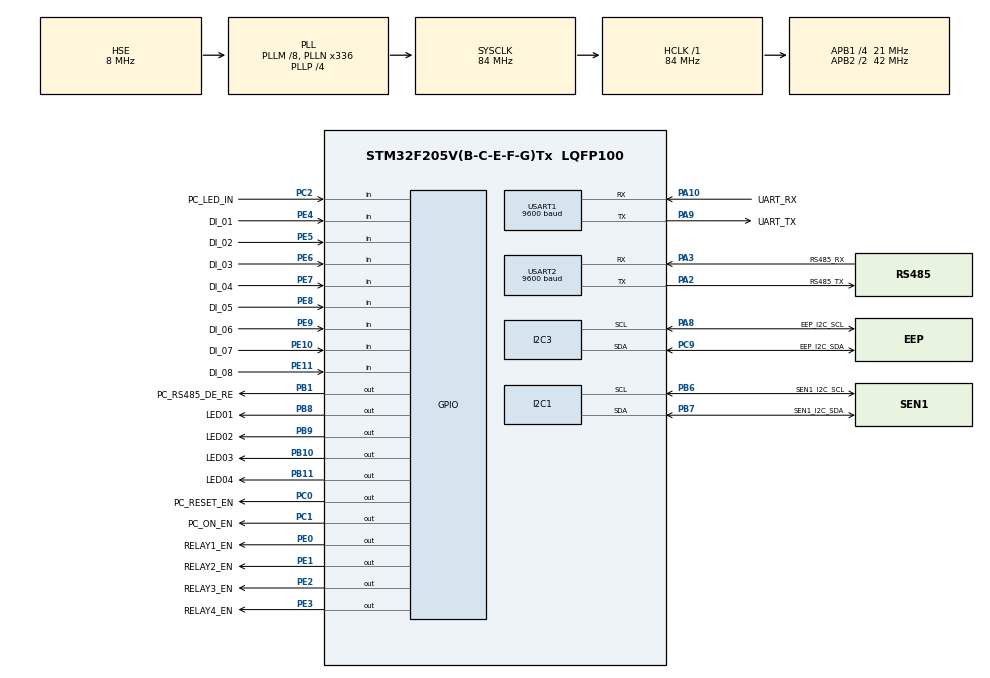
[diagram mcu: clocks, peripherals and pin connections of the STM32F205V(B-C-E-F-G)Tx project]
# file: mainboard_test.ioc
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Mcu.Family=STM32F2
Mcu.Name=STM32F205V(B-C-E-F-G)Tx
Mcu.Package=LQFP100
NVIC.PriorityGroup=NVIC_PRIORITYGROUP_4
NVIC.RCC_IRQn=true\:0\:0\:false\:false\:true\:true\:false\:true
NVIC.USART1_IRQn=true\:5\:0\:true\:false\:true\:true\:true\:true
NVIC.USART2_IRQn=true\:6\:0\:true\:false\:true\:true\:true\:true
PA10.GPIO_Label=UART_RX
PA10.Mode=Asynchronous
PA10.Signal=USART1_RX
PA13.Mode=Serial_Wire
PA13.Signal=SYS_JTMS-SWDIO
PA14.Mode=Serial_Wire
PA14.Signal=SYS_JTCK-SWCLK
PA2.GPIO_Label=RS485_TX
PA2.Mode=Asynchronous
PA2.Signal=USART2_TX
PA3.GPIO_Label=RS485_RX
PA3.Mode=Asynchronous
PA3.Signal=USART2_RX
PA8.GPIO_Label=EEP_I2C_SCL
PA8.Mode=I2C
PA8.Signal=I2C3_SCL
PA9.GPIO_Label=UART_TX
PA9.Mode=Asynchronous
PA9.Signal=USART1_TX
PB1.GPIO_Label=PC_RS485_DE_RE
PB1.GPIO_Speed=GPIO_SPEED_FREQ_VERY_HIGH
PB1.Signal=GPIO_Output
PB10.GPIO_Label=LED03
PB10.Signal=GPIO_Output
PB11.GPIO_Label=LED04
PB11.Signal=GPIO_Output
PB6.GPIO_Label=SEN1_I2C_SCL
PB6.Mode=I2C
PB6.Signal=I2C1_SCL
PB7.GPIO_Label=SEN1_I2C_SDA
PB7.Mode=I2C
PB7.Signal=I2C1_SDA
PB8.GPIO_Label=LED01
PB8.Signal=GPIO_Output
PB9.GPIO_Label=LED02
PB9.Signal=GPIO_Output
PC0.GPIO_Label=PC_RESET_EN
PC0.Signal=GPIO_Output
PC1.GPIO_Label=PC_ON_EN
PC1.Signal=GPIO_Output
PC14-OSC32_IN.Mode=LSE-External-Oscillator
PC14-OSC32_IN.Signal=RCC_OSC32_IN
PC15-OSC32_OUT.Mode=LSE-External-Oscillator
PC15-OSC32_OUT.Signal=RCC_OSC32_OUT
PC2.GPIO_Label=PC_LED_IN
PC2.Signal=GPIO_Input
PC9.GPIO_Label=EEP_I2C_SDA
PC9.Mode=I2C
PC9.Signal=I2C3_SDA
PE0.GPIO_Label=RELAY1_EN
PE0.Signal=GPIO_Output
PE1.GPIO_Label=RELAY2_EN
PE1.Signal=GPIO_Output
PE10.GPIO_Label=DI_07
PE10.Signal=GPIO_Input
PE11.GPIO_Label=DI_08
PE11.Signal=GPIO_Input
PE2.GPIO_Label=RELAY3_EN
PE2.Signal=GPIO_Output
PE3.GPIO_Label=RELAY4_EN
PE3.Signal=GPIO_Output
PE4.GPIO_Label=DI_01
PE4.Signal=GPIO_Input
PE5.GPIO_Label=DI_02
PE5.Signal=GPIO_Input
PE6.GPIO_Label=DI_03
PE6.Signal=GPIO_Input
PE7.GPIO_Label=DI_04
PE7.Signal=GPIO_Input
PE8.GPIO_Label=DI_05
PE8.Signal=GPIO_Input
PE9.GPIO_Label=DI_06
PE9.Signal=GPIO_Input
PH0-OSC_IN.Mode=HSE-External-Oscillator
PH0-OSC_IN.Signal=RCC_OSC_IN
PH1-OSC_OUT.Mode=HSE-External-Oscillator
PH1-OSC_OUT.Signal=RCC_OSC_OUT
ProjectManager.HeapSize=0x200
ProjectManager.StackSize=0x400
ProjectManager.TargetToolchain=STM32CubeIDE
RCC.48MHZClocksFreq_Value=84000000
RCC.AHBFreq_Value=84000000
RCC.APB1CLKDivider=RCC_HCLK_DIV4
RCC.APB1Freq_Value=21000000
RCC.APB1TimFreq_Value=42000000
RCC.APB2CLKDivider=RCC_HCLK_DIV2
RCC.APB2Freq_Value=42000000
RCC.APB2TimFreq_Value=84000000
RCC.CortexFreq_Value=84000000
RCC.HCLKFreq_Value=84000000
RCC.HSE_VALUE=8000000
RCC.HSI_VALUE=16000000
RCC.PLLM=8
RCC.PLLN=336
RCC.PLLP=RCC_PLLP_DIV4
RCC.PLLSourceVirtual=RCC_PLLSOURCE_HSE
RCC.RCC_RTC_Clock_Source=RCC_RTCCLKSOURCE_LSE
RCC.RCC_RTC_Clock_SourceVirtual=RCC_RTCCLKSOURCE_LSE
RCC.SYSCLKFreq_VALUE=84000000
RCC.SYSCLKSource=RCC_SYSCLKSOURCE_PLLCLK
RCC.VCOOutputFreq_Value=336000000
USART1.BaudRate=9600
USART1.VirtualMode=VM_ASYNC
USART2.BaudRate=9600
USART2.VirtualMode=VM_ASYNC
VP_RTC_VS_RTC_Activate.Mode=RTC_Enabled
VP_WWDG_VS_WWDG.Mode=WWDG_Activate
WWDG.Counter=127
WWDG.Prescaler=WWDG_PRESCALER_8
WWDG.Window=120
board=custom

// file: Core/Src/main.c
/* USER CODE BEGIN Header */
/**
  ******************************************************************************
  * @file           : main.c
  * @brief          : Main program body
  ******************************************************************************
  * @attention
  *
  * Copyright (c) 2026 STMicroelectronics.
  * All rights reserved.
  *
  * This software is licensed under terms that can be found in the LICENSE file
  * in the root directory of this software component.
  * If no LICENSE file comes with this software, it is provided AS-IS.
  *
  ******************************************************************************
  */
/* USER CODE END Header */
#include "main.h"

/* USER CODE BEGIN Includes */
#include "app_config.h"
#include "mainboard_test_profile.h"
#include "app_scheduler.h"
#include "aggregator.h"
#include "aggregated_status.h"
#include "upstream_pc_protocol.h"
#include "upstream_slave_uart1.h"
#include "modbus_master.h"
#include "gateway_actions.h"
#include "led_status.h"
#include "pc_test_aa_stream.h"
#include "reset_reason.h"
#include "wwdg_service.h"
#include "system_config.h"
#include "system_sync.h"
#include "board_rtc.h"
#include "main_auto_link.h"
#include "output_state_nvm.h"
#include "eeprom_24c02.h"
#include <stdio.h>
#include <string.h>
/* USER CODE END Includes */

/* USER CODE BEGIN PD */

/* EEPROM 단순 read/write 테스트 주소.
 * 레이아웃: 0x00~0x3F SystemConfig, 0x40~0x7F output_state_nvm A/B → 0xA0 이후 안전 */
#define EEPROM_BOOT_TEST_ADDR  0xA0u
#define EEPROM_BOOT_TEST_VAL   100u   /* 0x64 */

/* USER CODE END PD */

I2C_HandleTypeDef hi2c1;
I2C_HandleTypeDef hi2c3;

RTC_HandleTypeDef hrtc;

UART_HandleTypeDef huart1;
UART_HandleTypeDef huart2;

WWDG_HandleTypeDef hwwdg;

/* USER CODE BEGIN PV */
static aggregated_status_t aggregated_status;
/* USER CODE END PV */

void SystemClock_Config(void);
static void MX_GPIO_Init(void);
#if !MAINBOARD_TEST_PROFILE
static void MX_WWDG_Init(void);
#endif
static void MX_I2C1_Init(void);
static void MX_I2C3_Init(void);
static void MX_USART1_UART_Init(void);
static void MX_USART2_UART_Init(void);
static void MX_RTC_Init(void);

/* USER CODE BEGIN 0 */
/**
 * @brief EEPROM 단순 read/write 부팅 테스트.
 *        주소 0xA0에 100(0x64)을 쓰고 즉시 읽어 일치 여부를 UART1로 출력.
 *        output_state_nvm/SystemConfig 영역(0x00~0x7F)과 겹치지 않음.
 *        mainboard_test: MAINBOARD_TEST_PROFILE 에서 UART1 배너 직후 1회 호출.
 */
static void MainboardTest_EepromWriteReadLog(void)
{
    extern UART_HandleTypeDef huart1;

    uint8_t w = EEPROM_BOOT_TEST_VAL;
    uint8_t r = 0u;
    int wr = EEPROM_Write(EEPROM_BOOT_TEST_ADDR, &w, 1u);
    int rd = EEPROM_Read (EEPROM_BOOT_TEST_ADDR, &r, 1u);

    char buf[96];
    int n;

    n = snprintf(buf, sizeof(buf),
                 "[EEPROM-TEST] WR ret=%d val=%u\r\n", wr, (unsigned)w);
    if (n > 0) (void)HAL_UART_Transmit(&huart1, (uint8_t *)buf, (uint16_t)n, 100);

    n = snprintf(buf, sizeof(buf),
                 "[EEPROM-TEST] RD ret=%d val=%u\r\n", rd, (unsigned)r);
    if (n > 0) (void)HAL_UART_Transmit(&huart1, (uint8_t *)buf, (uint16_t)n, 100);

    int pass = (wr == 0) && (rd == 0) && (r == EEPROM_BOOT_TEST_VAL);
    n = snprintf(buf, sizeof(buf),
                 "[EEPROM-TEST] addr=0x%02X %s\r\n",
                 (unsigned)EEPROM_BOOT_TEST_ADDR, pass ? "PASS" : "FAIL");
    if (n > 0) (void)HAL_UART_Transmit(&huart1, (uint8_t *)buf, (uint16_t)n, 100);
}

static void MainboardTest_RtcLogAndCheck(void)
{
    extern UART_HandleTypeDef huart1;

    uint16_t a[7] = {0};
    uint16_t b[7] = {0};
    int ra = BoardRtc_ReadWordRegs(a);

    char buf[128];
    int n;

    if (ra != 0) {
        n = snprintf(buf, sizeof(buf), "[RTC-TEST] READ fail ret=%d\r\n", ra);
        if (n > 0) (void)HAL_UART_Transmit(&huart1, (uint8_t *)buf, (uint16_t)n, 100);
        return;
    }

    n = snprintf(buf, sizeof(buf),
                 "[RTC-TEST] A %04u-%02u-%02u wd=%u %02u:%02u:%02u\r\n",
                 (unsigned)a[0], (unsigned)a[1], (unsigned)a[2], (unsigned)a[3],
                 (unsigned)a[4], (unsigned)a[5], (unsigned)a[6]);
    if (n > 0) (void)HAL_UART_Transmit(&huart1, (uint8_t *)buf, (uint16_t)n, 100);

    HAL_Delay(1100);
    int rb = BoardRtc_ReadWordRegs(b);
    if (rb != 0) {
        n = snprintf(buf, sizeof(buf), "[RTC-TEST] READ2 fail ret=%d\r\n", rb);
        if (n > 0) (void)HAL_UART_Transmit(&huart1, (uint8_t *)buf, (uint16_t)n, 100);
        return;
    }

    n = snprintf(buf, sizeof(buf),
                 "[RTC-TEST] B %04u-%02u-%02u wd=%u %02u:%02u:%02u\r\n",
                 (unsigned)b[0], (unsigned)b[1], (unsigned)b[2], (unsigned)b[3],
                 (unsigned)b[4], (unsigned)b[5], (unsigned)b[6]);
    if (n > 0) (void)HAL_UART_Transmit(&huart1, (uint8_t *)buf, (uint16_t)n, 100);

    /* "시계가 실제로 간다"만 확인: 날짜가 동일하면 초 증가를 검사, 날짜가 바뀌면 PASS. */
    int pass = 0;
    if (a[0] == b[0] && a[1] == b[1] && a[2] == b[2]) {
        /* 1.1초 대기이므로 정상이라면 +1 또는 +2가 흔함 (tick/읽기 지연 고려). */
        uint16_t da = a[4] * 3600u + a[5] * 60u + a[6];
        uint16_t db = b[4] * 3600u + b[5] * 60u + b[6];
        uint16_t diff = (db >= da) ? (uint16_t)(db - da) : 0u;
        pass = (diff >= 1u && diff <= 3u);
    } else {
        pass = 1;
    }
    n = snprintf(buf, sizeof(buf), "[RTC-TEST] %s\r\n", pass ? "PASS" : "FAIL");
    if (n > 0) (void)HAL_UART_Transmit(&huart1, (uint8_t *)buf, (uint16_t)n, 100);
}
/* USER CODE END 0 */

int main(void)
{

  /* MCU Configuration--------------------------------------------------------*/

  /* Reset of all peripherals, Initializes the Flash interface and the Systick. */
  HAL_Init();

  /* USER CODE BEGIN Init */
  ResetReason_CaptureAndClear();

  /* USER CODE END Init */

  /* Configure the system clock */
  SystemClock_Config();

  /* Initialize all configured peripherals */
  MX_GPIO_Init();
#if !MAINBOARD_TEST_PROFILE
  /* WWDG는 카운터 시작 후 ~49ms 안에 리프레시해야 함. 긴 초기화 전에 켜면 리셋 루프(부팅 로그 반복) 발생. */
  MX_WWDG_Init();
#endif
  MX_I2C1_Init();
  MX_I2C3_Init();
  MX_USART1_UART_Init();
  MX_USART2_UART_Init();
  MX_RTC_Init();
  /* USER CODE BEGIN 2 */
  BoardRtc_Init();
  /* EEPROM 설정 로드: 실패 또는 검증 실패 시 기본값 저장 후 적용 */
  {
    system_config_t cfg;
    if (SystemConfig_Load(&cfg) != 0 || SystemConfig_Validate(&cfg) != 0) {
      SystemConfig_SetDefaults(&cfg);
      SystemConfig_Save(&cfg);
    }
    /* 출력 상태 로드(HPSB/LPSB 복원용). Mainboard RELAY1~4는 EEPROM으로 GPIO 복원하지 않음(항상 0 시작). */
    {
      output_state_nvm_t out_state;
      (void)OutputStateNvm_Load(&out_state);
    }
#if USE_PC_TEST_UART1_SLAVE
    /* PC 테스트 툴은 9600 고정. EEPROM baud와 무관하게 UART1=9600으로 통신 보장. */
    huart1.Init.BaudRate = 9600;
#elif MAINBOARD_TEST_PROFILE
    /* mainboard_test: UART1 TTL 디버그 9600bps 고정 */
    huart1.Init.BaudRate = 9600;
#else
    huart1.Init.BaudRate = (uint32_t)cfg.baudrate;
#endif
    (void)HAL_UART_Init(&huart1);
#if SYSTEM_CONFIG_BOOT_LOG
    SystemConfig_LogToUart((void *)&huart1);
#endif
#if MAINBOARD_TEST_PROFILE
    /* 부팅 1회: EEPROM R/W 검증 (UART1). 주기 송신은 루프에서 0xAA 한 줄/초. */
    MainboardTest_EepromWriteReadLog();
    MainboardTest_RtcLogAndCheck();
#endif
  }
  /* 정상 동작 모드: 스케줄러/통신/집계/LED 상태 및 WWDG 서비스 초기화. */
#if !MAINBOARD_TEST_PROFILE
  WwdgService_Init(&hwwdg);
#endif
  AppScheduler_Init();
  ModbusMaster_Init();
  /* 부팅 즉시 모든 하위보드 1회 poll 요청: PC 미연결 상태에서도 comm_ok 확정 후 NVM 복원이 동작하도록 함.
   * poll 성공 → comm_ok=1 → OutputStateNvm_RestoreSubBoardsIfNeeded가 복원 실행. */
  ModbusMaster_RequestOnDemandPoll((uint16_t)SLAVE_ID_HPSB  | (uint16_t)SLAVE_ID_LPSB1 |
                                   (uint16_t)SLAVE_ID_LPSB2 | (uint16_t)SLAVE_ID_LPSB3);
  AggregatedStatus_Clear(&aggregated_status);
  SystemSync_Init();
#if !MB_UART2_ASCII_BRIDGE_TEST
#if !USE_PC_TEST_UART1_SLAVE
  /* NOTE: UpstreamPC uses USART2 ReceiveToIdle_IT.
   * When PC_TEST_UART1_SLAVE is enabled, USART2 is reserved for downstream Modbus Master (sub RS485).
   * Running both on USART2 causes RX competition and truncated FC04 responses. */
  UpstreamPC_Init();
#endif
#endif
#if USE_PC_TEST_UART1_SLAVE && !ENABLE_PC_TEST_AA_STREAM
  UpstreamSlaveUart1_Init();
#endif
  MainAutoLink_Init();
  LED_Status_Init();
#if ENABLE_PC_TEST_AA_STREAM
  PcTestAA_Init();
#endif
#if USE_PC_TEST_UART1_SLAVE && !ENABLE_PC_TEST_AA_STREAM
  /* 부팅 시 LED2 한 번 펄스 ... */
  LED_Status_OnUart1RxEvent();
  LED_Status_OnUart1SlaveTx();
#endif
  /* mainboard_test(MAINBOARD_TEST_PROFILE): WWDG 미사용 — 리셋 루프 방지. 그 외 빌드는 앞단 MX_WWDG_Init 사용. */
  /* USER CODE END 2 */

  /* Infinite loop */
  while (1)
  {

    /* USER CODE BEGIN 3 */
#if MAINBOARD_TEST_PROFILE
    /* 1초마다 한 줄: 터미널에서 읽기 쉬운 0xAA 표시 */
    {
      static uint32_t s_uart1_aa_ms;
      uint32_t now = HAL_GetTick();
      if ((uint32_t)(now - s_uart1_aa_ms) >= 1000u) {
        s_uart1_aa_ms = now;
        static const char k_line[] = "0xAA\r\n";
        (void)HAL_UART_Transmit(&huart1, (uint8_t *)k_line, (uint16_t)(sizeof(k_line) - 1u), 50);
      }
    }
#endif
#if UART2_RS485_SUB_TXRX_TEST_ENABLE && !MAINBOARD_TEST_PROFILE
    /* USART2(RS485 하단) TX 생존 테스트: 1초마다 송신 */
    {
      static uint32_t s_rs485_tx_tick = 0;
      uint32_t now = HAL_GetTick();
      if (s_rs485_tx_tick == 0u) s_rs485_tx_tick = now;
      if ((now - s_rs485_tx_tick) >= 1000u) {
        s_rs485_tx_tick = now;
        rs485_test_tx();
      }
    }
#endif

#if MB_UART1_TX_OK_STREAM_TEST
    /* USART1(상위 RS485, PC 링크) 테스트: 1초마다 "MB_OK\r\n" 송신 */
    {
      uint32_t now = HAL_GetTick();
      if (s_mb_ok_last_tick == 0u) s_mb_ok_last_tick = now;
      if ((now - s_mb_ok_last_tick) >= 1000u) {
        s_mb_ok_last_tick = now;
        mb_uart1_send_mb_ok();
      }
    }
#endif

    /* 1ms 주기 기반 스케줄러/업무 처리 */
    LED_Status_Tick_1ms();
    MainAutoLink_Tick();
    AppScheduler_Update();

#if ENABLE_PC_TEST_AA_STREAM
    PcTestAA_Tick(&aggregated_status);
#else
#if MB_UART2_ASCII_BRIDGE_TEST
    ascii_bridge_tick();
#else
#if !USE_PC_TEST_UART1_SLAVE
    if (AppScheduler_IsDue(TASK_UPSTREAM_POLL))
      UpstreamPC_Poll(&aggregated_status);
#endif
#if USE_PC_TEST_UART1_SLAVE || MODBUS_MASTER_POLL_ENABLE
    if (AppScheduler_IsDue(TASK_DOWNSTREAM_MODBUS)) {
#if USE_PC_TEST_UART1_SLAVE
      UpstreamSlaveUart1_Poll(&aggregated_status);
#endif
#if MODBUS_MASTER_POLL_ENABLE
      ModbusMaster_Poll();
#endif
    }
#endif
#endif
#endif
    if (AppScheduler_IsDue(TASK_AGGREGATE_UPDATE))
      SystemSync_Update(&aggregated_status, HAL_GetTick());
    Gateway_Action_Update();
#if !MB_UART2_ASCII_BRIDGE_TEST
#if !USE_PC_TEST_UART1_SLAVE
    if (AppScheduler_IsDue(TASK_UPSTREAM_SEND_STATUS))
      UpstreamPC_SendStatus(&aggregated_status);
#endif
#endif

#if !MAINBOARD_TEST_PROFILE
    /* 진단 단계(윈도우 위반 배제):
     * - 비즈니스 루프는 유지
     * - 리프레시는 20ms마다 1회만 수행(5.5ms~49ms 윈도우 내) */
    static uint32_t last_wwdg_ms = 0;
    uint32_t now_ms = HAL_GetTick();
    if ((uint32_t)(now_ms - last_wwdg_ms) >= 20u) {
      (void)HAL_WWDG_Refresh(&hwwdg);
      last_wwdg_ms = now_ms;
    }
#endif
  }
  /* USER CODE END 3 */
}

void SystemClock_Config(void)
{
  RCC_OscInitTypeDef RCC_OscInitStruct = {0};
  RCC_ClkInitTypeDef RCC_ClkInitStruct = {0};
  RCC_PeriphCLKInitTypeDef PeriphClkInitStruct = {0};

  /** Initializes the RCC Oscillators according to the specified parameters
  * in the RCC_OscInitTypeDef structure.
  */
  RCC_OscInitStruct.OscillatorType = RCC_OSCILLATORTYPE_HSE|RCC_OSCILLATORTYPE_LSE;
  RCC_OscInitStruct.HSEState = RCC_HSE_ON;
  RCC_OscInitStruct.LSEState = RCC_LSE_ON;
  RCC_OscInitStruct.PLL.PLLState = RCC_PLL_ON;
  RCC_OscInitStruct.PLL.PLLSource = RCC_PLLSOURCE_HSE;
  RCC_OscInitStruct.PLL.PLLM = 8;
  RCC_OscInitStruct.PLL.PLLN = 336;
  RCC_OscInitStruct.PLL.PLLP = RCC_PLLP_DIV4;
  RCC_OscInitStruct.PLL.PLLQ = 4;
  if (HAL_RCC_OscConfig(&RCC_OscInitStruct) != HAL_OK)
  {
    Error_Handler();
  }

  /** Initializes the CPU, AHB and APB buses clocks
  */
  RCC_ClkInitStruct.ClockType = RCC_CLOCKTYPE_HCLK|RCC_CLOCKTYPE_SYSCLK
                              |RCC_CLOCKTYPE_PCLK1|RCC_CLOCKTYPE_PCLK2;
  RCC_ClkInitStruct.SYSCLKSource = RCC_SYSCLKSOURCE_PLLCLK;
  RCC_ClkInitStruct.AHBCLKDivider = RCC_SYSCLK_DIV1;
  RCC_ClkInitStruct.APB1CLKDivider = RCC_HCLK_DIV4;
  RCC_ClkInitStruct.APB2CLKDivider = RCC_HCLK_DIV2;

  if (HAL_RCC_ClockConfig(&RCC_ClkInitStruct, FLASH_LATENCY_2) != HAL_OK)
  {
    Error_Handler();
  }
  PeriphClkInitStruct.PeriphClockSelection = RCC_PERIPHCLK_RTC;
  PeriphClkInitStruct.RTCClockSelection = RCC_RTCCLKSOURCE_LSE;
  if (HAL_RCCEx_PeriphCLKConfig(&PeriphClkInitStruct) != HAL_OK)
  {
    Error_Handler();
  }
}

static void MX_I2C1_Init(void)
{

  hi2c1.Instance = I2C1;
  hi2c1.Init.ClockSpeed = 100000;
  hi2c1.Init.DutyCycle = I2C_DUTYCYCLE_2;
  hi2c1.Init.OwnAddress1 = 0;
  hi2c1.Init.AddressingMode = I2C_ADDRESSINGMODE_7BIT;
  hi2c1.Init.DualAddressMode = I2C_DUALADDRESS_DISABLE;
  hi2c1.Init.OwnAddress2 = 0;
  hi2c1.Init.GeneralCallMode = I2C_GENERALCALL_DISABLE;
  hi2c1.Init.NoStretchMode = I2C_NOSTRETCH_DISABLE;
  if (HAL_I2C_Init(&hi2c1) != HAL_OK)
  {
    Error_Handler();
  }

}

static void MX_I2C3_Init(void)
{

  hi2c3.Instance = I2C3;
  hi2c3.Init.ClockSpeed = 100000;
  hi2c3.Init.DutyCycle = I2C_DUTYCYCLE_2;
  hi2c3.Init.OwnAddress1 = 0;
  hi2c3.Init.AddressingMode = I2C_ADDRESSINGMODE_7BIT;
  hi2c3.Init.DualAddressMode = I2C_DUALADDRESS_DISABLE;
  hi2c3.Init.OwnAddress2 = 0;
  hi2c3.Init.GeneralCallMode = I2C_GENERALCALL_DISABLE;
  hi2c3.Init.NoStretchMode = I2C_NOSTRETCH_DISABLE;
  if (HAL_I2C_Init(&hi2c3) != HAL_OK)
  {
    Error_Handler();
  }

}

static void MX_RTC_Init(void)
{

  /** Initialize RTC Only
  */
  hrtc.Instance = RTC;
  hrtc.Init.HourFormat = RTC_HOURFORMAT_24;
  hrtc.Init.AsynchPrediv = 127;
  hrtc.Init.SynchPrediv = 255;
  hrtc.Init.OutPut = RTC_OUTPUT_DISABLE;
  hrtc.Init.OutPutPolarity = RTC_OUTPUT_POLARITY_HIGH;
  hrtc.Init.OutPutType = RTC_OUTPUT_TYPE_OPENDRAIN;
  if (HAL_RTC_Init(&hrtc) != HAL_OK)
  {
    Error_Handler();
  }

}

static void MX_USART1_UART_Init(void)
{

  huart1.Instance = USART1;
  huart1.Init.BaudRate = 9600;
  huart1.Init.WordLength = UART_WORDLENGTH_8B;
  huart1.Init.StopBits = UART_STOPBITS_1;
  huart1.Init.Parity = UART_PARITY_NONE;
  huart1.Init.Mode = UART_MODE_TX_RX;
  huart1.Init.HwFlowCtl = UART_HWCONTROL_NONE;
  huart1.Init.OverSampling = UART_OVERSAMPLING_16;
  if (HAL_UART_Init(&huart1) != HAL_OK)
  {
    Error_Handler();
  }

}

static void MX_USART2_UART_Init(void)
{

  huart2.Instance = USART2;
  huart2.Init.BaudRate = 9600;
  huart2.Init.WordLength = UART_WORDLENGTH_8B;
  huart2.Init.StopBits = UART_STOPBITS_1;
  huart2.Init.Parity = UART_PARITY_NONE;
  huart2.Init.Mode = UART_MODE_TX_RX;
  huart2.Init.HwFlowCtl = UART_HWCONTROL_NONE;
  huart2.Init.OverSampling = UART_OVERSAMPLING_16;
  if (HAL_UART_Init(&huart2) != HAL_OK)
  {
    Error_Handler();
  }

}

#if !MAINBOARD_TEST_PROFILE
static void MX_WWDG_Init(void)
{

  hwwdg.Instance = WWDG;
  hwwdg.Init.Prescaler = WWDG_PRESCALER_8;
  hwwdg.Init.Window = 120;
  hwwdg.Init.Counter = 127;
  hwwdg.Init.EWIMode = WWDG_EWI_DISABLE;
  if (HAL_WWDG_Init(&hwwdg) != HAL_OK)
  {
    Error_Handler();
  }

}
#endif /* !MAINBOARD_TEST_PROFILE */

static void MX_GPIO_Init(void)
{
  GPIO_InitTypeDef GPIO_InitStruct = {0};

  /* GPIO Ports Clock Enable */
  __HAL_RCC_GPIOE_CLK_ENABLE();
  __HAL_RCC_GPIOC_CLK_ENABLE();
  __HAL_RCC_GPIOH_CLK_ENABLE();
  __HAL_RCC_GPIOA_CLK_ENABLE();
  __HAL_RCC_GPIOB_CLK_ENABLE();

  /*Configure GPIO pin Output Level */
  HAL_GPIO_WritePin(GPIOE, RELAY3_EN_Pin|RELAY4_EN_Pin|RELAY1_EN_Pin|RELAY2_EN_Pin, GPIO_PIN_RESET);

  /*Configure GPIO pin Output Level */
  HAL_GPIO_WritePin(GPIOC, PC_RESET_EN_Pin|PC_ON_EN_Pin, GPIO_PIN_RESET);

  /*Configure GPIO pin Output Level */
#if !MAINBOARD_TEST_PROFILE
  HAL_GPIO_WritePin(GPIOB, PC_RS485_DE_RE_Pin|LED03_Pin|LED04_Pin|LED01_Pin
                          |LED02_Pin, GPIO_PIN_RESET);
#else
  HAL_GPIO_WritePin(GPIOB, LED03_Pin|LED04_Pin|LED01_Pin|LED02_Pin, GPIO_PIN_RESET);
#endif

  /*Configure GPIO pins : RELAY3_EN_Pin RELAY4_EN_Pin RELAY1_EN_Pin RELAY2_EN_Pin */
  GPIO_InitStruct.Pin = RELAY3_EN_Pin|RELAY4_EN_Pin|RELAY1_EN_Pin|RELAY2_EN_Pin;
  GPIO_InitStruct.Mode = GPIO_MODE_OUTPUT_PP;
  GPIO_InitStruct.Pull = GPIO_NOPULL;
  GPIO_InitStruct.Speed = GPIO_SPEED_FREQ_LOW;
  HAL_GPIO_Init(GPIOE, &GPIO_InitStruct);

  /*Configure GPIO pins : DI_01_Pin DI_02_Pin DI_03_Pin DI_04_Pin
                           DI_05_Pin DI_06_Pin DI_07_Pin DI_08_Pin */
  GPIO_InitStruct.Pin = DI_01_Pin|DI_02_Pin|DI_03_Pin|DI_04_Pin
                          |DI_05_Pin|DI_06_Pin|DI_07_Pin|DI_08_Pin;
  GPIO_InitStruct.Mode = GPIO_MODE_INPUT;
  GPIO_InitStruct.Pull = GPIO_NOPULL;
  HAL_GPIO_Init(GPIOE, &GPIO_InitStruct);

  /*Configure GPIO pins : PC_RESET_EN_Pin PC_ON_EN_Pin */
  GPIO_InitStruct.Pin = PC_RESET_EN_Pin|PC_ON_EN_Pin;
  GPIO_InitStruct.Mode = GPIO_MODE_OUTPUT_PP;
  GPIO_InitStruct.Pull = GPIO_NOPULL;
  GPIO_InitStruct.Speed = GPIO_SPEED_FREQ_LOW;
  HAL_GPIO_Init(GPIOC, &GPIO_InitStruct);

  /*Configure GPIO pin : PC_LED_IN_Pin */
  GPIO_InitStruct.Pin = PC_LED_IN_Pin;
  GPIO_InitStruct.Mode = GPIO_MODE_INPUT;
  GPIO_InitStruct.Pull = GPIO_NOPULL;
  HAL_GPIO_Init(PC_LED_IN_GPIO_Port, &GPIO_InitStruct);

#if !MAINBOARD_TEST_PROFILE
  /*Configure GPIO pin : PC_RS485_DE_RE_Pin */
  GPIO_InitStruct.Pin = PC_RS485_DE_RE_Pin;
  GPIO_InitStruct.Mode = GPIO_MODE_OUTPUT_PP;
  GPIO_InitStruct.Pull = GPIO_NOPULL;
  GPIO_InitStruct.Speed = GPIO_SPEED_FREQ_VERY_HIGH;
  HAL_GPIO_Init(PC_RS485_DE_RE_GPIO_Port, &GPIO_InitStruct);
#endif

  /*Configure GPIO pins : LED03_Pin LED04_Pin LED01_Pin LED02_Pin */
  GPIO_InitStruct.Pin = LED03_Pin|LED04_Pin|LED01_Pin|LED02_Pin;
  GPIO_InitStruct.Mode = GPIO_MODE_OUTPUT_PP;
  GPIO_InitStruct.Pull = GPIO_NOPULL;
  GPIO_InitStruct.Speed = GPIO_SPEED_FREQ_LOW;
  HAL_GPIO_Init(GPIOB, &GPIO_InitStruct);

}

void Error_Handler(void)
{
  __disable_irq();
  while (1)
  {
  }
}
